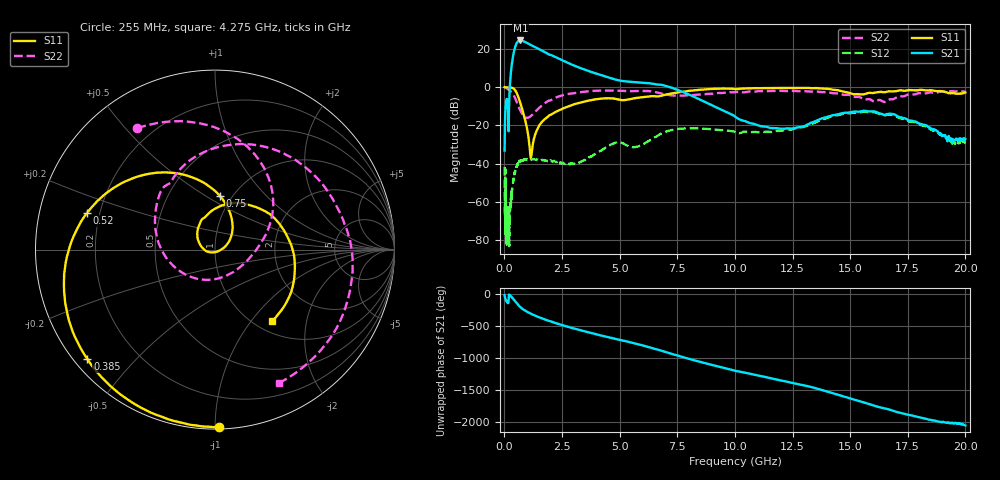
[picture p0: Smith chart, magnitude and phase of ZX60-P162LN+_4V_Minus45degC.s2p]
!Mini-Circuits Laboratory
!S-Parameters
!Model: ZX60-P162LN+
!Run / Lot / Date Code: E114703 /  / NA
!Fixture:
!Network Analyzer: ;  Serial number: 71013
!Date: 12/21/2011 at 12:41:24 PM
!S/N: Unit3
!Tested with:
# Hz  S  dB  R  50
!Frequency  S11 dB  S11 Deg  S21 dB  S21 Deg  S12 dB  S12 Deg  S22 dB  S22 Deg
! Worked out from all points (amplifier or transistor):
!   959 points, 10 MHz to 20 GHz, reference 50 ohm
!   highest |S21| = 24.6 dB at 695 MHz (marker M1)
!   |S21| within 3 dB of that: 477.8 MHz to 1.249 GHz (771.1 MHz wide, 89.3 % of centre)
!   unconditionally stable (mu >= 1): 23.08 MHz to 25.31 MHz; 34.48 MHz to 45.77 MHz; 63.14 MHz to end of sweep
!   at 805 MHz: K = 2.36, MAG = 24.6 dB, |S12| = -38.1 dB
!   at 8.025 GHz: K = 1.54, MAG = 4.5 dB, |S12| = -21.5 dB
!   at 20 GHz: K = 52.72, MAG = -19.9 dB, |S12| = -27.7 dB
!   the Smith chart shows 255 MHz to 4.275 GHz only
!   S11 on the Smith chart (normalised r, x): 255 MHz: 0.01, -1.02; 385 MHz: 0.04, -0.37; 520 MHz: 0.15, +0.14; 750 MHz: 0.88, +0.58; 4.275 GHz: 1.18, -1.28
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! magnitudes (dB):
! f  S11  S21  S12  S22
! 10 MHz  0.0  -33.1  -41.7  -0.1
! 35 MHz  0.0  -14.4  -71.8  -0.1
! 70 MHz  0.0  -7.7  -65.2  -0.3
! 95 MHz  0.0  -6.2  -81.7  -0.4
! 135 MHz  0.0  -7.3  -74.8  -0.7
! 180 MHz  -0.1  -23.0  -81.6  -1.1
! 255 MHz  -0.1  3.7  -62.5  -1.9
! 385 MHz  -0.6  17.0  -48.7  -3.8
! 520 MHz  -2.6  22.9  -41.8  -7.2
! 695 MHz  -8.3  24.6  -38.5  -12.3
! 750 MHz  -10.5  24.5  -38.3  -13.4
! 1.175 GHz  -35.6  22.0  -37.8  -14.8
! 1.725 GHz  -17.0  18.7  -38.1  -8.6
! 3.35 GHz  -7.8  9.9  -38.7  -2.5
! 4.275 GHz  -5.8  6.1  -32.6  -1.7
! 6.675 GHz  -4.8  1.5  -25.2  -2.8
! 10.03 GHz  -0.9  -15.4  -23.5  -2.5
! 11.97 GHz  -0.4  -21.7  -22.8  -1.8
! 13.35 GHz  -0.4  -18.5  -19.1  -2.2
! 15.15 GHz  -3.6  -12.7  -13.3  -4.9
! 16.68 GHz  -2.1  -13.9  -14.4  -6.5
! 20 GHz  -2.7  -27.1  -27.7  -2.3
